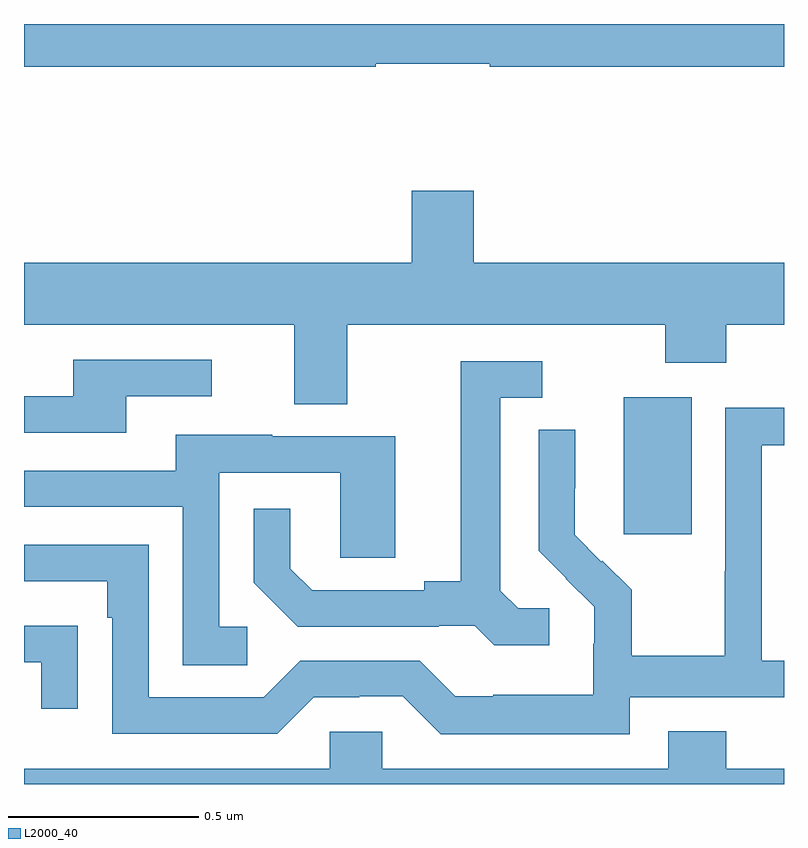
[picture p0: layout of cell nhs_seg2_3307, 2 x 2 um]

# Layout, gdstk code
import gdstk
lib = gdstk.Library(unit=1e-6, precision=1e-09)
def R(c, l, rs):  # rectangles x0, y0, x1, y1
    for r in rs: c.add(gdstk.rectangle(r[:2], r[2:], *l))
def P(c, l, *ps):  # polygons
    for p in ps: c.add(gdstk.Polygon(p, *l))
L2000_40 = (2000, 40)

nhs_seg2_3307 = lib.new_cell('nhs_seg2_3307')
R(nhs_seg2_3307, L2000_40, [(153.578,608.457,153.757,608.818)])
P(nhs_seg2_3307, L2000_40, [(152.926,609.696),(153.226,609.696),(153.226,609.688),(154,609.688),(154,609.8),(152,609.8),(152,609.688),(152.926,609.688)],
  [(152.851,609.008),(153.688,609.008),(153.688,608.909),(153.848,608.909),(153.848,609.008),(154,609.008),(154,609.172),(153.184,609.172),(153.184,609.361),(153.02,609.361),(153.02,609.172),(152,609.172),(152,609.008),(152.711,609.008),(152.711,608.8),(152.851,608.8)],
  [(152.269,608.82),(152.494,608.82),(152.494,608.916),(152.129,608.916),(152.129,608.82),(152,608.82),(152,608.724),(152.269,608.724)],
  [(153.382,608.262),(153.3,608.262),(153.253,608.309),(153.253,608.817),(153.364,608.817),(153.364,608.913),(153.149,608.913),(153.149,608.333),(153.053,608.333),(153.053,608.31),(152.758,608.31),(152.701,608.367),(152.701,608.524),(152.604,608.524),(152.604,608.33),(152.72,608.214),(153.092,608.214),(153.092,608.217),(153.186,608.217),(153.238,608.165),(153.382,608.165)],
  [(153.594,608.028),(154,608.028),(154,608.124),(153.942,608.124),(153.942,608.691),(154,608.691),(154,608.79),(153.846,608.79),(153.846,608.36),(153.844,608.36),(153.844,608.137),(153.599,608.137),(153.599,608.311),(153.522,608.388),(153.519,608.385),(153.449,608.456),(153.449,608.578),(153.45,608.578),(153.45,608.732),(153.354,608.732),(153.354,608.414),(153.427,608.341),(153.426,608.34),(153.5,608.266),(153.5,608.169),(153.498,608.169),(153.498,608.035),(153.235,608.035),(153.235,608.031),(153.135,608.031),(153.042,608.124),(152.727,608.124),(152.631,608.028),(152.328,608.028),(152.328,608.43),(152,608.43),(152,608.334),(152.219,608.334),(152.219,608.237),(152.232,608.237),(152.232,607.932),(152.667,607.932),(152.763,608.028),(152.882,608.028),(152.882,608.031),(152.997,608.031),(153.097,607.931),(153.594,607.931)],
  [(152.587,608.214),(152.514,608.214),(152.514,608.619),(152.832,608.619),(152.832,608.395),(152.977,608.395),(152.977,608.715),(152.653,608.715),(152.653,608.719),(152.399,608.719),(152.399,608.625),(152,608.625),(152,608.529),(152.418,608.529),(152.418,608.113),(152.587,608.113)],
  [(152.141,608.216),(152.039,608.216),(152.039,608.217),(152,608.217),(152,608.121),(152.045,608.121),(152.045,607.998),(152.141,607.998)],
  [(154,607.84),(153.848,607.84),(153.848,607.939),(153.695,607.939),(153.695,607.84),(152.943,607.84),(152.943,607.938),(152.805,607.938),(152.805,607.84),(152,607.84),(152,607.8),(154,607.8)])

lib.write_gds('nhs_seg2_3307.gds')
